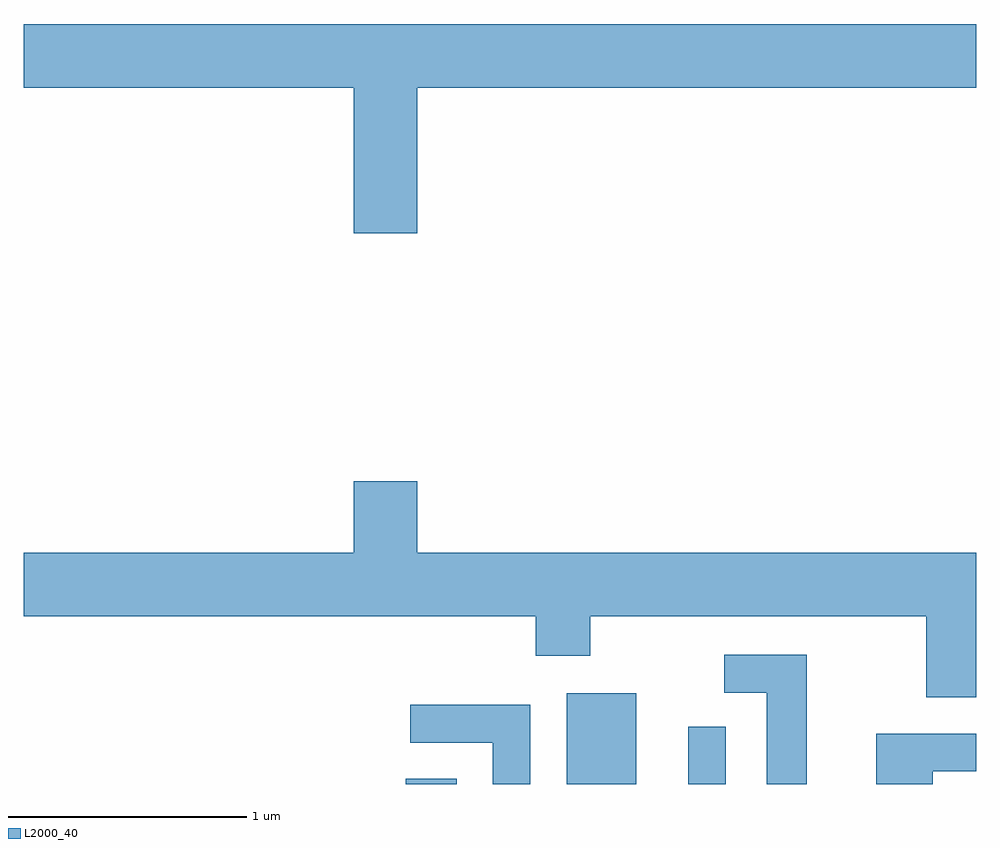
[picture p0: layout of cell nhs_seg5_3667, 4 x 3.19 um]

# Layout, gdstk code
import gdstk
lib = gdstk.Library(unit=1e-6, precision=1e-09)
def R(c, l, rs):  # rectangles x0, y0, x1, y1
    for r in rs: c.add(gdstk.rectangle(r[:2], r[2:], *l))
def P(c, l, *ps):  # polygons
    for p in ps: c.add(gdstk.Polygon(p, *l))
L2000_40 = (2000, 40)

nhs_seg5_3667 = lib.new_cell('nhs_seg5_3667')
R(nhs_seg5_3667, L2000_40, [(295.216,1476.072,295.429,1476.094), (295.891,1476.072,296.184,1476.454), (296.401,1476.072,296.559,1476.313)])
P(nhs_seg5_3667, L2000_40, [(295.264,1478.996),(297.611,1478.996),(297.611,1479.264),(293.611,1479.264),(293.611,1478.996),(294.996,1478.996),(294.996,1478.386),(295.264,1478.386)],
  [(297.611,1477.044),(295.264,1477.044),(295.264,1477.344),(294.996,1477.344),(294.996,1477.044),(293.611,1477.044),(293.611,1476.776),(295.761,1476.776),(295.761,1476.611),(295.989,1476.611),(295.989,1476.776),(297.401,1476.776),(297.401,1476.436),(297.611,1476.436)],
  [(296.899,1476.614),(296.553,1476.614),(296.553,1476.456),(296.731,1476.456),(296.731,1476.072),(296.899,1476.072)],
  [(295.739,1476.404),(295.233,1476.404),(295.233,1476.246),(295.581,1476.246),(295.581,1476.072),(295.739,1476.072)],
  [(297.429,1476.126),(297.611,1476.126),(297.611,1476.284),(297.191,1476.284),(297.191,1476.072),(297.429,1476.072)])

lib.write_gds('nhs_seg5_3667.gds')
